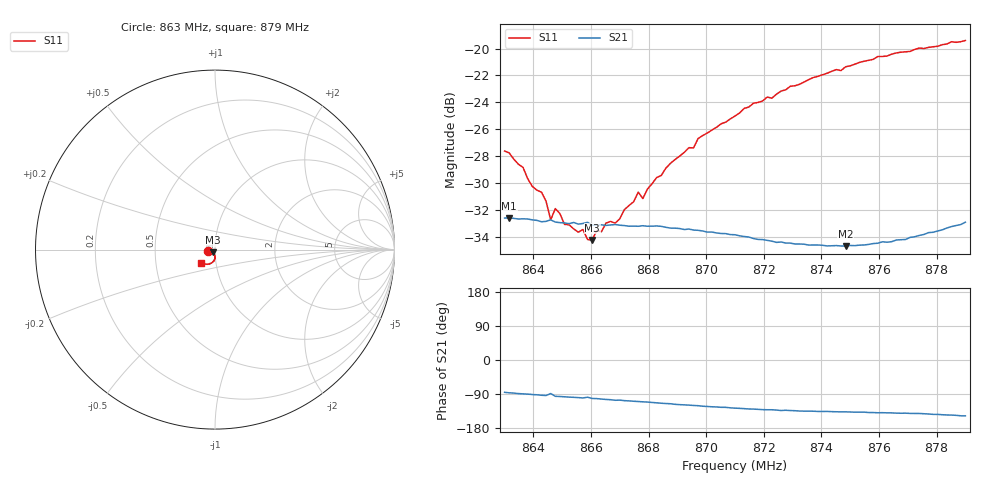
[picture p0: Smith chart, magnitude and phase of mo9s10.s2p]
# HZ S RI R 50
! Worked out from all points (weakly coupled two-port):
!   101 points, 863 MHz to 879 MHz, reference 50 ohm
!   highest |S21| = -32.60 dB at 863.16 MHz (marker M1); lowest = -34.7 dB at 874.84 MHz (marker M2)
!   lowest |S11| = -34.2 dB at 866.04 MHz (marker M3), VSWR 1.04, Z = 48.9 - j1.55 ohm
!   |S11| at or under -10 dB: start of sweep to end of sweep
!   S12 and S22 are empty: the file has one direction only
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8.63e8  -0.0403 -0.01  0.00194 -0.0233  0 0  0 0
8.6316e8  -0.0396 -0.0103  0.00141 -0.0234  0 0  0 0
8.6364e8  -0.0346 -0.0104  0.000278 -0.0233  0 0  0 0
8.6396e8  -0.0294 -0.00897  -0.000441 -0.0231  0 0  0 0
8.6428e8  -0.0268 -0.0117  -0.00121 -0.0227  0 0  0 0
8.646e8  -0.0214 -0.00865  0.000623 -0.0231  0 0  0 0
8.6476e8  -0.0223 -0.0121  -0.00228 -0.0225  0 0  0 0
8.6508e8  -0.0185 -0.0122  -0.00277 -0.0223  0 0  0 0
8.6572e8  -0.0142 -0.0158  -0.00392 -0.022  0 0  0 0
8.6588e8  -0.0124 -0.015  -0.00323 -0.0223  0 0  0 0
8.6604e8  -0.0112 -0.0159  -0.00439 -0.0216  0 0  0 0
8.6652e8  -0.00895 -0.0206  -0.00534 -0.0213  0 0  0 0
8.67e8  -0.00562 -0.0226  -0.00604 -0.0212  0 0  0 0
8.6764e8  -0.00405 -0.0289  -0.00731 -0.0206  0 0  0 0
8.678e8  -0.00261 -0.0275  -0.00763 -0.0206  0 0  0 0
8.6844e8  -0.000818 -0.0337  -0.00889 -0.0199  0 0  0 0
8.6972e8  0.000141 -0.0463  -0.0107 -0.0182  0 0  0 0
8.71e8  -0.00262 -0.056  -0.0122 -0.0162  0 0  0 0
8.7372e8  -0.0201 -0.0754  -0.0132 -0.0131  0 0  0 0
8.7484e8  -0.0307 -0.0798  -0.0134 -0.0126  0 0  0 0
8.7644e8  -0.0498 -0.0813  -0.0146 -0.0124  0 0  0 0
8.79e8  -0.0788 -0.0726  -0.019 -0.0122  0 0  0 0
